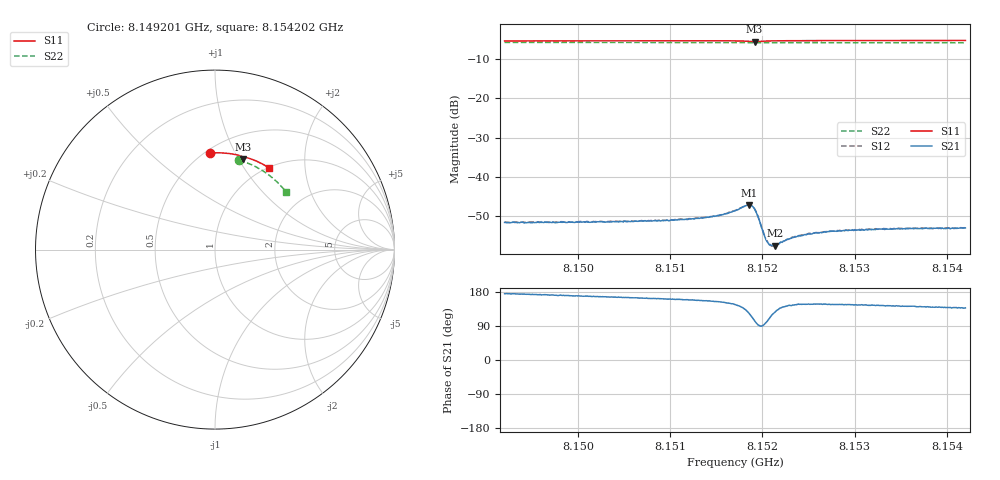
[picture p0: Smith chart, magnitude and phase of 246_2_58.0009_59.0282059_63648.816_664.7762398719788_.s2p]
#  HZ  S  RI  R  50.00
! Rohde & Schwarz Vector Network Analyzer
! Rohde-Schwarz,ZNB20-2Port,1311601062101988,3.16
! Created: UTC 3/21/2024, 1:01:16 AM
! freq[Hz]  re:S11  im:S11  re:S21  im:S21  re:S12  im:S12  re:S22  im:S22
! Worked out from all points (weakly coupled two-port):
!   401 points, 8.149201 GHz to 8.154202 GHz, reference 50 ohm
!   highest |S21| = -47.14 dB at 8.151852 GHz (marker M1); lowest = -57.5 dB at 8.152139 GHz (marker M2)
!   lowest |S11| = -5.5 dB at 8.151914 GHz (marker M3), VSWR 3.24, Z = 37.3 + j52.2 ohm
!   |S11| at or under -10 dB: nowhere
!   |S22| runs from -5.9 to -5.7 dB; largest |S21 - S12| = 0.00012
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8.1492011e9  -0.0261 0.538  -0.00263 0.00023  -0.00265 0.000277  0.1356 0.4977
8.1500387e9  0.0326 0.5389  -0.00261 0.000521  -0.00263 0.000559  0.1871 0.4798
8.1508764e9  0.0911 0.5336  -0.00264 0.00086  -0.00266 0.000926  0.2361 0.4565
8.1511515e9  0.1104 0.5302  -0.00268 0.00104  -0.00269 0.00106  0.2517 0.4478
8.1514015e9  0.1283 0.5263  -0.00282 0.00125  -0.00281 0.00126  0.2653 0.4395
8.1515515e9  0.1394 0.5234  -0.00294 0.0015  -0.00291 0.00152  0.2736 0.4341
8.1517016e9  0.1507 0.5184  -0.0031 0.00205  -0.0031 0.00212  0.2814 0.4288
8.1518141e9  0.1586 0.5114  -0.00293 0.00314  -0.00291 0.00318  0.2874 0.4245
8.1518516e9  0.1593 0.5078  -0.00246 0.00364  -0.00242 0.00369  0.2893 0.423
8.1518891e9  0.158 0.505  -0.00161 0.00393  -0.00152 0.004  0.291 0.4216
8.1519141e9  0.1563 0.5045  -0.000887 0.00381  -0.00085 0.00384  0.2922 0.4207
8.1519391e9  0.1549 0.5056  -0.000347 0.00337  -0.00029 0.00343  0.2935 0.4197
8.1520141e9  0.1573 0.5111  -8.5e-05 0.00187  -7.11e-05 0.00191  0.2972 0.4172
8.1520516e9  0.1606 0.5126  -0.000316 0.00146  -0.000283 0.00149  0.2992 0.4159
8.1520891e9  0.1639 0.5133  -0.000571 0.00124  -0.000557 0.00122  0.3013 0.4145
8.1521141e9  0.1662 0.5134  -0.000702 0.00115  -0.000687 0.00115  0.3026 0.4135
8.1521391e9  0.1684 0.5134  -0.00081 0.00107  -0.00084 0.00106  0.3039 0.4126
8.1523267e9  0.1832 0.5106  -0.00138 0.000973  -0.00141 0.000989  0.3134 0.4052
8.1525392e9  0.1983 0.5057  -0.00158 0.00103  -0.0016 0.00106  0.3239 0.3964
8.1527518e9  0.2125 0.5007  -0.00171 0.00112  -0.00173 0.00113  0.3342 0.3876
8.1533769e9  0.2527 0.4829  -0.00174 0.0013  -0.00173 0.00135  0.3628 0.3597
8.154202e9  0.3026 0.4547  -0.00166 0.00152  -0.0016 0.00156  0.3968 0.3198
